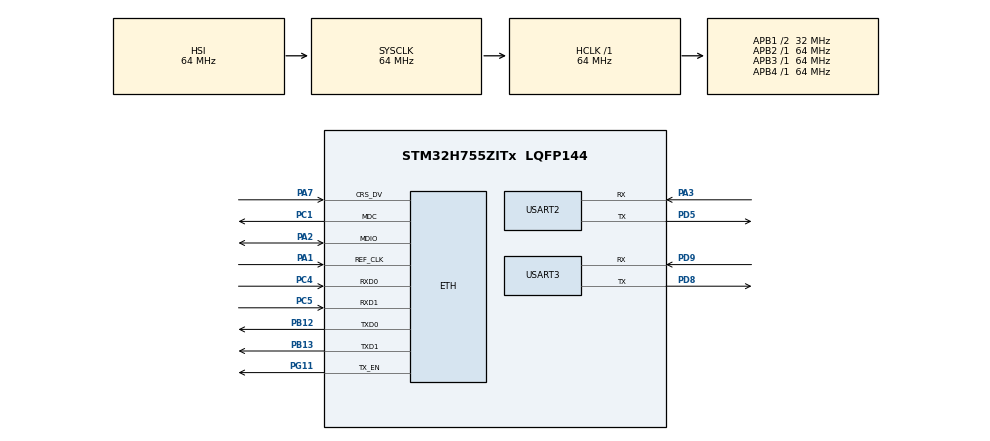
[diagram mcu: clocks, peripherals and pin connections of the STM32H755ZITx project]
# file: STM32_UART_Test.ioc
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CORTEX_M7.default_mode_Activation=1
CortexM4.IPs=CORTEX_M4\:I,FATFS_M4\:I,FREERTOS_M4\:I,IWDG2\:I,OPENAMP_M4\:I,PDM2PCM_M4\:I,PWR,RCC,RESMGR_UTILITY,SYS_M4\:I,USB_DEVICE_M4\:I,USB_HOST_M4\:I,VREFBUF,WWDG2\:I,GPIO,DMA,BDMA,MDMA,NVIC2\:I
CortexM7.IPs=CORTEX_M7\:I,FATFS_M7\:I,FREERTOS_M7\:I,IWDG1\:I,OPENAMP_M7\:I,PDM2PCM_M7\:I,PWR\:I,RCC\:I,RESMGR_UTILITY\:I,SYS\:I,USB_DEVICE_M7\:I,USB_HOST_M7\:I,VREFBUF\:I,WWDG1\:I,GPIO\:I,DMA\:I,BDMA\:I,MDMA\:I,NVIC1\:I,USART3\:I,ETH\:I,LWIP\:I,USART2\:I
ETH.MediaInterface=HAL_ETH_RMII_MODE
FREERTOS_M7.Tasks01=defaultTask,24,128,StartDefaultTask,Default,NULL,Dynamic,NULL,NULL
LWIP.BSP.number=1
LWIP.GATEWAY_ADDRESS=000.000.000.000
LWIP.IP_ADDRESS=192.168.001.050
LWIP.LWIP_DHCP=0
LWIP.NETMASK_ADDRESS=255.255.255.000
LWIP.Version=v2.2.1_Cube
LWIP0.BSP.STBoard=false
LWIP0.BSP.api=BSP_COMPONENT_DRIVER
LWIP0.BSP.component=LAN8742
LWIP0.BSP.instance=LAN8742
LWIP0.BSP.name=Driver_PHY
LWIP0.BSP.semaphore=S_LAN8742
LWIP0.BSP.solution=LAN8742
Mcu.Family=STM32H7
Mcu.Name=STM32H755ZITx
Mcu.Package=LQFP144
NVIC1.ETH_IRQn=true\:5\:0\:false\:false\:true\:true\:true\:true\:true
NVIC1.PriorityGroup=NVIC_PRIORITYGROUP_4
NVIC2.PriorityGroup=NVIC_PRIORITYGROUP_4
PA1.Mode=RMII
PA1.PinAttribute=CortexM7
PA1.Signal=ETH_REF_CLK
PA2.Mode=RMII
PA2.PinAttribute=CortexM7
PA2.Signal=ETH_MDIO
PA3.Mode=Asynchronous
PA3.PinAttribute=CortexM7
PA3.Signal=USART2_RX
PA7.Mode=RMII
PA7.PinAttribute=CortexM7
PA7.Signal=ETH_CRS_DV
PB12.Mode=RMII
PB12.PinAttribute=CortexM7
PB12.Signal=ETH_TXD0
PB13.Mode=RMII
PB13.PinAttribute=CortexM7
PB13.Signal=ETH_TXD1
PC1.Mode=RMII
PC1.PinAttribute=CortexM7
PC1.Signal=ETH_MDC
PC4.Mode=RMII
PC4.PinAttribute=CortexM7
PC4.Signal=ETH_RXD0
PC5.Mode=RMII
PC5.PinAttribute=CortexM7
PC5.Signal=ETH_RXD1
PD5.Mode=Asynchronous
PD5.PinAttribute=CortexM7
PD5.Signal=USART2_TX
PD8.Mode=Asynchronous
PD8.PinAttribute=CortexM7
PD8.Signal=USART3_TX
PD9.Mode=Asynchronous
PD9.PinAttribute=CortexM7
PD9.Signal=USART3_RX
PG11.Mode=RMII
PG11.PinAttribute=CortexM7
PG11.Signal=ETH_TX_EN
ProjectManager.HeapSize=M4-0x200,M7-0x200
ProjectManager.StackSize=M4-0x400,M7-0x400
ProjectManager.TargetToolchain=STM32CubeIDE
RCC.ADCFreq_Value=129000000
RCC.APB1Freq_Value=32000000
RCC.APB2Freq_Value=64000000
RCC.APB3Freq_Value=64000000
RCC.APB4Freq_Value=64000000
RCC.CortexFreq_Value=64000000
RCC.D2PPRE1=RCC_APB1_DIV2
RCC.HCLKFreq_Value=64000000
RCC.SYSCLKFreq_VALUE=64000000
RCC.USBFreq_Value=129000000
SYS.userName=SYS_M7
USART2.VirtualMode-Asynchronous=VM_ASYNC
USART3.VirtualMode-Asynchronous=VM_ASYNC
VP_FREERTOS_M7_VS_CMSIS_V2.Mode=CMSIS_V2
VP_LWIP_VS_Enabled.Mode=Enabled
VP_SYS_M4_VS_Systick.Mode=SysTick
board=custom

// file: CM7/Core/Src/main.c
/* USER CODE BEGIN Header */
/**
  ******************************************************************************
  * @file           : main.c
  * @brief          : Main program body
  ******************************************************************************
  */
/* USER CODE END Header */

#include "main.h"
#include "FreeRTOS.h"
#include "cmsis_os2.h"
#include "lwip.h"

/* USER CODE BEGIN Includes */
#include "lan8742.h"
#include <stdio.h>
#include <stdlib.h>
#include <string.h>
#include <stdint.h>
#include <errno.h>
#include "lwip/sockets.h"
#include "lwip/netif.h"
#include "lwip/ip4_addr.h"
#include "lwip/etharp.h"
#include "stm32h7xx_hal_eth.h"

extern volatile uint32_t eth_pbuf_count;
extern volatile uint32_t eth_input_ok_count;
extern volatile uint32_t eth_input_fail_count;
extern volatile uint32_t eth_rx_irq_count;
extern volatile uint32_t eth_tx_irq_count;
extern volatile uint32_t eth_err_irq_count;

extern ETH_HandleTypeDef heth;
extern lan8742_Object_t LAN8742;
extern struct netif gnetif;

#include "app_debug.h"
#include "app_uart_esp.h"
/* USER CODE END Includes */

/* USER CODE BEGIN PD */
/* #define DUAL_CORE_BOOT_SYNC_SEQUENCE */

#define PLC_IP_ADDR      "192.168.1.100"
#define PLC_MODBUS_PORT  502
#define PLC_UNIT_ID      1

#define HR_SERVO_HIZ          0   /* 40001 */
#define HR_SERVO_HIZ_GELEN    1   /* 40002 */
#define HR_SERVO_HIZ_GIDEN    2   /* 40003 */
#define HR_SERVO_TORK         3   /* 40004 */
#define HR_SERVO_TORK_GELEN   4   /* 40005 */
#define HR_SERVO_TORK_GIDEN   5   /* 40006 */
#define HR_SERVO_MEVCUT_HIZ   6   /* 40007 */

#define HR_SERVO_MESAFE            (40311 - 40001)   // 310
#define HR_EKRAN_SERVO_SABIT_HIZ   (40313 - 40001)   // 312
#define HR_EKRAN_SERVO_SABIT_TORK  (40314 - 40001)   // 313

#define HR_GERCEK_METRE_RAW   (42011 - 40001)   // 2010, Real, 2 register
#define HR_HIZ_M_SN_RAW   (42029 - 40001)   // 2028, Real, 2 register
#define HR_MAX_HIZ_M_SN_RAW   (42037 - 40001)   // 2036, Real, 2 register

#define COIL_EKRAN_METRE_AKTIF     (5 - 1)           // 4
#define COIL_EKRAN_YON_SECIMI      (6 - 1)           // 5
#define COIL_METRE_SIFIRLAMA       (7 - 1)           // 6
#define COIL_EKRAN_DEGISKEN_MOD    (8 - 1)           // 7
#define COIL_ISLEM_BITTI           (11 - 1)          // 10

/* GMSuite tablosunda: EKRAN_STOP=2, EKRAN_START=3, SISTEM_STARTLI=4.
   Modbus genelde 1-based gösterir, gerçek coil adresi = görünen adres - 1. */
#define COIL_EKRAN_STOP       1
#define COIL_EKRAN_START      2
#define COIL_SISTEM_STARTLI   3

/* Set 1 only when debugging raw UART2 traffic (very chatty on USART3). */
#define ESP_UART_BYTE_TRACE   0

/* Modbus TCP response wait (ms). recv() returns -1 on timeout instead of blocking forever. */
#define MODBUS_RECV_TIMEOUT_MS 500

/* Max wait for TCP connect (non-blocking connect + select). Avoids indefinite block when PLC is off. */
#define MODBUS_CONNECT_TIMEOUT_MS  500

/* Minimum gap between identical UART alerts (ms) — avoids flooding USART3 when PLC is down. */
#define MODBUS_UART_PLC_FAIL_MIN_MS   4000
#define MODBUS_UART_ETH_DOWN_MIN_MS   5000
#define MODBUS_UART_SOCKET_FAIL_MIN_MS 8000
#define MODBUS_UART_IO_FAIL_MIN_MS    4000

/* Main loop: longer delay after repeated Modbus read failures (back off TCP retries). */
#define MODBUS_LOOP_DELAY_OK_MS       1000
#define MODBUS_LOOP_DELAY_FAIL_MS     2500
#define MODBUS_LOOP_FAIL_STREAK_LONG  4U

/* Print PHY/netif/counter/IP banner only every N loop iterations (Modbus read still each cycle). */
#define DEFAULT_TASK_VERBOSE_INTERVAL  5

#if defined(DUAL_CORE_BOOT_SYNC_SEQUENCE)
#ifndef HSEM_ID_0
#define HSEM_ID_0 (0U)
#endif
#endif
/* USER CODE END PD */

UART_HandleTypeDef huart2;
UART_HandleTypeDef huart3;

/* Definitions for defaultTask */
osThreadId_t defaultTaskHandle;
const osThreadAttr_t defaultTask_attributes = {
  .name = "defaultTask",
  .stack_size = 4096,
  .priority = (osPriority_t) osPriorityNormal,
};

/* USER CODE BEGIN PV */

static int current_speed = 100;
static int current_torque = 5;

static uint8_t esp_rx_byte;
static char esp_cmd_buffer[32];
static uint8_t esp_cmd_index = 0;

static uint32_t modbus_uart_last_plc_fail_ms;
static uint32_t modbus_uart_last_eth_down_ms;
static uint32_t modbus_uart_last_sock_fail_ms;
static uint32_t modbus_uart_last_io_fail_ms;

/* Pause telemetry Modbus reads during command bursts */
static volatile uint32_t modbus_command_guard_until_ms = 0;

/* Set during any Modbus write sequence so telemetry skips opening a socket */
static volatile uint8_t modbus_command_active = 0;

/* Skip one telemetry cycle after ESP command sequences (START/STOP/live setpoint) */
static volatile uint8_t telemetry_skip_once = 0U;

/* Gate START command to avoid overlapping sequences */
static volatile uint8_t plc_busy = 0;
static volatile uint8_t plc_running = 0;

/* Live setpoint spam guard (K/M/A/Z) */
static uint32_t live_setpoint_last_ms = 0;

typedef enum
{
  MB_CMD_NONE = 0,
  MB_CMD_START,
  MB_CMD_STOP,
  MB_CMD_SPEED_SET,
  MB_CMD_TORQUE_SET
} ModbusCommandType_t;

static volatile ModbusCommandType_t pending_cmd = MB_CMD_NONE;
static volatile int pending_speed = 0;
static volatile int pending_torque = 0;
static volatile uint8_t pending_staged_speed_guard = 0U;

/* USER CODE END PV */

void SystemClock_Config(void);
static void MPU_Config(void);
static void MX_GPIO_Init(void);
static void MX_USART3_UART_Init(void);
static void MX_USART2_UART_Init(void);
void StartDefaultTask(void *argument);

/* USER CODE BEGIN PFP */
int modbus_read_all_registers(void);
void modbus_motion_test_once(void);
int plc_read_one_holding_register(uint16_t raw_reg_addr, uint16_t *out_value);
int plc_read_one_coil(uint16_t raw_coil_addr, uint8_t *out_state);
void plc_diagnostic_read_all(void);
void plc_reset_meter(void);
void plc_set_fixed_speed_torque_distance(uint16_t fixed_speed, uint16_t fixed_torque, uint16_t distance);
void plc_start_fixed_mode_from_esp(void);
void plc_stop_from_esp(void);
static int modbus_write_single_register(uint16_t reg_addr,
                                        uint16_t value);

static int modbus_open_socket(void);
static int modbus_write_single_register_on_socket(int sock,
                                                  uint16_t reg_addr,
                                                  uint16_t value);
static int modbus_write_single_coil_on_socket(int sock,
                                              uint16_t coil_addr,
                                              uint8_t state);

static int modbus_eth_link_ready(void);

static int plc_read_float_holding(uint16_t raw_reg_addr, float *out_value);
static int plc_read_float_holding_on_socket(int sock, uint16_t raw_reg_addr, float *out_value);
static void telemetry_send_live_to_esp(void);
static void modbus_command_release_guard(void);
static void modbus_command_worker_run(void);

/* USER CODE END PFP */

/* USER CODE BEGIN 0 */

#define STAGED_COMMAND_GUARD_MS 5000U

static void modbus_command_release_guard(void)
{
  modbus_command_active = 0U;
  modbus_command_guard_until_ms = osKernelGetTickCount() + 3000U;
}

static void plc_apply_live_torque(void)
{
  char msg[128];
  int sock;
  int wr;

  modbus_command_active = 1U;

  snprintf(msg, sizeof(msg),
           "LIVE TORQUE UPDATE -> TORQUE=%d\r\n",
           current_torque);
  app_debug_uart(msg);

  if (!modbus_eth_link_ready())
  {
    app_debug_uart("TORQUE UPDATE FAIL -> ETH/PLC LINK DOWN\r\n");
    modbus_command_release_guard();
    return;
  }

  app_debug_uart("TORQUE UPDATE OPEN SOCKET\r\n");
  sock = modbus_open_socket();
  if (sock < 0)
  {
    app_debug_uart("TORQUE UPDATE FAIL -> SOCKET OPEN\r\n");
    modbus_command_release_guard();
    return;
  }

  app_debug_uart("TORQUE UPDATE WRITE BEGIN\r\n");
  wr = modbus_write_single_register_on_socket(sock, HR_EKRAN_SERVO_SABIT_TORK,
                                               (uint16_t)current_torque);
  app_debug_uart("TORQUE UPDATE WRITE DONE\r\n");
  app_debug_uart("TORQUE UPDATE CLOSE BEGIN\r\n");
  (void)closesocket(sock);
  app_debug_uart("TORQUE UPDATE CLOSE DONE\r\n");

  if (wr == 0)
  {
    app_debug_uart("TORQUE UPDATE SENT\r\n");
  }
  else
  {
    app_debug_uart("TORQUE UPDATE FAIL\r\n");
  }

  modbus_command_release_guard();
}

static void plc_apply_live_speed(void)
{
  char msg[128];
  int sock;
  int wr;

  modbus_command_active = 1U;

  snprintf(msg, sizeof(msg),
           "LIVE SPEED UPDATE -> SPEED=%d\r\n",
           current_speed);
  app_debug_uart(msg);

  if (!modbus_eth_link_ready())
  {
    app_debug_uart("SPEED UPDATE FAIL -> ETH/PLC LINK DOWN\r\n");
    modbus_command_release_guard();
    return;
  }

  app_debug_uart("SPEED UPDATE OPEN SOCKET\r\n");
  sock = modbus_open_socket();
  if (sock < 0)
  {
    app_debug_uart("SPEED UPDATE FAIL -> SOCKET OPEN\r\n");
    modbus_command_release_guard();
    return;
  }

  app_debug_uart("SPEED UPDATE WRITE BEGIN\r\n");
  wr = modbus_write_single_register_on_socket(sock, HR_EKRAN_SERVO_SABIT_HIZ,
                                               (uint16_t)current_speed);
  app_debug_uart("SPEED UPDATE WRITE DONE\r\n");
  app_debug_uart("SPEED UPDATE CLOSE BEGIN\r\n");
  (void)closesocket(sock);
  app_debug_uart("SPEED UPDATE CLOSE DONE\r\n");

  if (wr == 0)
  {
    app_debug_uart("SPEED UPDATE SENT\r\n");
  }
  else
  {
    app_debug_uart("SPEED UPDATE FAIL\r\n");
  }

  modbus_command_release_guard();
}

static void CPU_CACHE_Enable(void)
{
  // Test asamasinda cache kapali
  // SCB_EnableICache();
  // SCB_EnableDCache();
}

static int modbus_eth_link_ready(void)
{
  return (netif_is_link_up(&gnetif) && netif_is_up(&gnetif)) ? 1 : 0;
}

static void modbus_uart_plc_fail_throttled(void)
{
  uint32_t t = osKernelGetTickCount();
  if ((t - modbus_uart_last_plc_fail_ms) >= MODBUS_UART_PLC_FAIL_MIN_MS)
  {
    modbus_uart_last_plc_fail_ms = t;
    app_debug_uart("PLC CONNECT FAIL\r\n");
  }
}

static void modbus_uart_eth_down_throttled(void)
{
  uint32_t t = osKernelGetTickCount();
  if ((t - modbus_uart_last_eth_down_ms) >= MODBUS_UART_ETH_DOWN_MIN_MS)
  {
    modbus_uart_last_eth_down_ms = t;
    app_debug_uart("MODBUS: ETH link/netif down\r\n");
  }
}

static void modbus_uart_socket_fail_throttled(void)
{
  uint32_t t = osKernelGetTickCount();
  if ((t - modbus_uart_last_sock_fail_ms) >= MODBUS_UART_SOCKET_FAIL_MIN_MS)
  {
    modbus_uart_last_sock_fail_ms = t;
    app_debug_uart("SOCKET FAIL\r\n");
  }
}

static void modbus_uart_io_fail_throttled(void)
{
  uint32_t t = osKernelGetTickCount();
  if ((t - modbus_uart_last_io_fail_ms) >= MODBUS_UART_IO_FAIL_MIN_MS)
  {
    modbus_uart_last_io_fail_ms = t;
    app_debug_uart("MODBUS IO fail\r\n");
  }
}

static int modbus_open_socket(void)
{
  int sock;
  int conn_rc;
  struct sockaddr_in server;
  struct timeval tvto;

  if (!modbus_eth_link_ready())
  {
    modbus_uart_eth_down_throttled();
    return -1;
  }

  app_debug_uart("SOCK:CREATE\r\n");

  sock = socket(AF_INET, SOCK_STREAM, 0);

  if (sock < 0)
  {
    modbus_uart_socket_fail_throttled();
    return -1;
  }

  app_debug_uart("SOCK:CREATED\r\n");

  tvto.tv_sec = MODBUS_CONNECT_TIMEOUT_MS / 1000;
  tvto.tv_usec = (MODBUS_CONNECT_TIMEOUT_MS % 1000) * 1000;

  (void)setsockopt(sock, SOL_SOCKET, SO_RCVTIMEO, &tvto, (socklen_t)sizeof(tvto));
  (void)setsockopt(sock, SOL_SOCKET, SO_SNDTIMEO, &tvto, (socklen_t)sizeof(tvto));

  memset(&server, 0, sizeof(server));
  server.sin_family = AF_INET;
  server.sin_port = htons(PLC_MODBUS_PORT);
  server.sin_addr.s_addr = inet_addr(PLC_IP_ADDR);

  app_debug_uart("SOCK:CONNECT_BLOCKING\r\n");
  conn_rc = connect(sock, (struct sockaddr *)&server, sizeof(server));
  if (conn_rc < 0)
  {
    modbus_uart_plc_fail_throttled();
    (void)closesocket(sock);
    return -1;
  }

  app_debug_uart("SOCK:READY\r\n");
  return sock;
}

static int modbus_write_single_register(uint16_t reg_addr, uint16_t value)
{
  int sock = modbus_open_socket();
  if (sock < 0) return -1;

  uint8_t req[12];
  uint8_t resp[32];
  char msg[128];

  req[0] = 0x00; req[1] = 0x10;
  req[2] = 0x00; req[3] = 0x00;
  req[4] = 0x00; req[5] = 0x06;
  req[6] = PLC_UNIT_ID;
  req[7] = 0x06;
  req[8] = (reg_addr >> 8) & 0xFF;
  req[9] = reg_addr & 0xFF;
  req[10] = (value >> 8) & 0xFF;
  req[11] = value & 0xFF;

  int sent = send(sock, req, sizeof(req), 0);
  if (sent <= 0)
  {
    modbus_uart_io_fail_throttled();
    (void)closesocket(sock);
    return -1;
  }

  fd_set rfds;
  struct timeval tv;

  FD_ZERO(&rfds);
  FD_SET(sock, &rfds);

  tv.tv_sec = MODBUS_RECV_TIMEOUT_MS / 1000;
  tv.tv_usec = (MODBUS_RECV_TIMEOUT_MS % 1000) * 1000;

  int sel = select(sock + 1, &rfds, NULL, NULL, &tv);
  if (sel <= 0)
  {
    if (sel == 0)
      app_debug_uart("MODBUS WRITE SELECT TIMEOUT\r\n");
    else
      app_debug_uart("MODBUS WRITE SELECT ERROR\r\n");

    (void)closesocket(sock);
    return -1;
  }

  int len = recv(sock, resp, sizeof(resp), 0);

  if (len <= 0)
  {
    app_debug_uart("MODBUS WRITE RECV TIMEOUT\r\n");

    (void)closesocket(sock);

    return -1;
  }

  (void)closesocket(sock);

  if (len >= 12 && resp[7] == 0x06)
  {
    snprintf(msg, sizeof(msg),
             "WRITE REG addr=%u value=%u recv=%d\r\n",
             reg_addr,
             value,
             len);

    app_debug_uart(msg);

    return 0;
  }

  modbus_uart_io_fail_throttled();
  return -1;
}

static int modbus_write_single_coil(uint16_t coil_addr, uint8_t state)
{
  int sock = modbus_open_socket();
  if (sock < 0) return -1;

  uint8_t req[12];
  uint8_t resp[32];
  char msg[128];

  req[0] = 0x00; req[1] = 0x20;
  req[2] = 0x00; req[3] = 0x00;
  req[4] = 0x00; req[5] = 0x06;
  req[6] = PLC_UNIT_ID;
  req[7] = 0x05;
  req[8] = (coil_addr >> 8) & 0xFF;
  req[9] = coil_addr & 0xFF;
  req[10] = state ? 0xFF : 0x00;
  req[11] = 0x00;

  int sent = send(sock, req, sizeof(req), 0);
  if (sent <= 0)
  {
    modbus_uart_io_fail_throttled();
    (void)closesocket(sock);
    return -1;
  }

  fd_set rfds;
  struct timeval tv;

  FD_ZERO(&rfds);
  FD_SET(sock, &rfds);

  tv.tv_sec = MODBUS_RECV_TIMEOUT_MS / 1000;
  tv.tv_usec = (MODBUS_RECV_TIMEOUT_MS % 1000) * 1000;

  int sel = select(sock + 1, &rfds, NULL, NULL, &tv);
  if (sel <= 0)
  {
    if (sel == 0)
      app_debug_uart("MODBUS COIL SELECT TIMEOUT\r\n");
    else
      app_debug_uart("MODBUS COIL SELECT ERROR\r\n");

    (void)closesocket(sock);
    return -1;
  }

  int len = recv(sock, resp, sizeof(resp), 0);

  if (len <= 0)
  {
    app_debug_uart("MODBUS COIL RECV TIMEOUT\r\n");

    (void)closesocket(sock);

    return -1;
  }

  (void)closesocket(sock);

  if (len >= 12 && resp[7] == 0x05)
  {
    snprintf(msg, sizeof(msg),
             "WRITE COIL addr=%u state=%u recv=%d\r\n",
             coil_addr,
             state,
             len);

    app_debug_uart(msg);

    return 0;
  }

  modbus_uart_io_fail_throttled();
  return -1;
}

static int modbus_write_single_register_on_socket(int sock, uint16_t reg_addr, uint16_t value)
{
  if (sock < 0) return -1;

  uint8_t req[12];
  uint8_t resp[32];
  char msg[128];

  req[0] = 0x00; req[1] = 0x10;
  req[2] = 0x00; req[3] = 0x00;
  req[4] = 0x00; req[5] = 0x06;
  req[6] = PLC_UNIT_ID;
  req[7] = 0x06;
  req[8] = (reg_addr >> 8) & 0xFF;
  req[9] = reg_addr & 0xFF;
  req[10] = (value >> 8) & 0xFF;
  req[11] = value & 0xFF;

  int sent = send(sock, req, (int)sizeof(req), 0);
  if (sent <= 0)
  {
    app_debug_uart("MODBUS WRITE REG SEND FAIL\r\n");
    return -1;
  }

  fd_set rfds;
  struct timeval tv;

  FD_ZERO(&rfds);
  FD_SET(sock, &rfds);

  tv.tv_sec = MODBUS_RECV_TIMEOUT_MS / 1000;
  tv.tv_usec = (MODBUS_RECV_TIMEOUT_MS % 1000) * 1000;

  int sel = select(sock + 1, &rfds, NULL, NULL, &tv);
  if (sel <= 0)
  {
    if (sel == 0)
      app_debug_uart("MODBUS WRITE REG SELECT TIMEOUT\r\n");
    else
      app_debug_uart("MODBUS WRITE REG SELECT ERROR\r\n");
    return -1;
  }

  int len = recv(sock, resp, (int)sizeof(resp), 0);
  if (len <= 0)
  {
    app_debug_uart("MODBUS WRITE REG RECV FAIL\r\n");
    return -1;
  }

  if (len >= 12 && resp[7] == 0x06)
  {
    snprintf(msg, sizeof(msg),
             "WRITE REG addr=%u value=%u recv=%d\r\n",
             reg_addr,
             value,
             len);
    app_debug_uart(msg);
    return 0;
  }

  app_debug_uart("MODBUS WRITE REG BAD RESP\r\n");
  return -1;
}

static int modbus_write_single_coil_on_socket(int sock, uint16_t coil_addr, uint8_t state)
{
  if (sock < 0) return -1;

  uint8_t req[12];
  uint8_t resp[32];
  char msg[128];

  req[0] = 0x00; req[1] = 0x20;
  req[2] = 0x00; req[3] = 0x00;
  req[4] = 0x00; req[5] = 0x06;
  req[6] = PLC_UNIT_ID;
  req[7] = 0x05;
  req[8] = (coil_addr >> 8) & 0xFF;
  req[9] = coil_addr & 0xFF;
  req[10] = state ? 0xFF : 0x00;
  req[11] = 0x00;

  int sent = send(sock, req, (int)sizeof(req), 0);
  if (sent <= 0)
  {
    app_debug_uart("MODBUS WRITE COIL SEND FAIL\r\n");
    return -1;
  }

  fd_set rfds;
  struct timeval tv;

  FD_ZERO(&rfds);
  FD_SET(sock, &rfds);

  tv.tv_sec = MODBUS_RECV_TIMEOUT_MS / 1000;
  tv.tv_usec = (MODBUS_RECV_TIMEOUT_MS % 1000) * 1000;

  int sel = select(sock + 1, &rfds, NULL, NULL, &tv);
  if (sel <= 0)
  {
    if (sel == 0)
      app_debug_uart("MODBUS WRITE COIL SELECT TIMEOUT\r\n");
    else
      app_debug_uart("MODBUS WRITE COIL SELECT ERROR\r\n");
    return -1;
  }

  int len = recv(sock, resp, (int)sizeof(resp), 0);
  if (len <= 0)
  {
    app_debug_uart("MODBUS WRITE COIL RECV FAIL\r\n");
    return -1;
  }

  if (len >= 12 && resp[7] == 0x05)
  {
    snprintf(msg, sizeof(msg),
             "WRITE COIL addr=%u state=%u recv=%d\r\n",
             coil_addr,
             state,
             len);
    app_debug_uart(msg);
    return 0;
  }

  app_debug_uart("MODBUS WRITE COIL BAD RESP\r\n");
  return -1;
}

static int plc_read_float_holding(uint16_t raw_reg_addr, float *out_value)
{
  int sock;
  uint8_t request[12];
  uint8_t response[32];

  if (out_value == NULL)
  {
    return -1;
  }

  sock = modbus_open_socket();
  if (sock < 0)
  {
    return -1;
  }

  request[0] = 0x00; request[1] = 0x41;
  request[2] = 0x00; request[3] = 0x00;
  request[4] = 0x00; request[5] = 0x06;
  request[6] = PLC_UNIT_ID;
  request[7] = 0x03;
  request[8]  = (raw_reg_addr >> 8) & 0xFF;
  request[9]  = raw_reg_addr & 0xFF;
  request[10] = 0x00;
  request[11] = 0x02;   // Real = 2 register

  int sent = send(sock, request, sizeof(request), 0);
  if (sent <= 0)
  {
    (void)closesocket(sock);
    return -1;
  }

  fd_set rfds;
  struct timeval tv;

  FD_ZERO(&rfds);
  FD_SET(sock, &rfds);

  tv.tv_sec = MODBUS_RECV_TIMEOUT_MS / 1000;
  tv.tv_usec = (MODBUS_RECV_TIMEOUT_MS % 1000) * 1000;

  int sel = select(sock + 1, &rfds, NULL, NULL, &tv);
  if (sel <= 0)
  {
    if (sel == 0)
      app_debug_uart("MODBUS READF SELECT TIMEOUT\r\n");
    else
      app_debug_uart("MODBUS READF SELECT ERROR\r\n");

    (void)closesocket(sock);
    return -1;
  }

  int len = recv(sock, response, sizeof(response), 0);

  if (len <= 0)
  {
    (void)closesocket(sock);
    return -1;
  }

  (void)closesocket(sock);

  if (len >= 13 && response[7] == 0x03 && response[8] == 0x04)
  {
    uint16_t w1 = ((uint16_t)response[9]  << 8) | response[10];
    uint16_t w2 = ((uint16_t)response[11] << 8) | response[12];

    uint32_t raw_swapped = ((uint32_t)w2 << 16) | w1;

    float val;
    memcpy(&val, &raw_swapped, sizeof(float));

    *out_value = val;
    return 0;
  }

  return -1;
}

static int plc_read_float_holding_on_socket(int sock, uint16_t raw_reg_addr, float *out_value)
{
  uint8_t request[12];
  uint8_t response[32];

  if (out_value == NULL)
    return -1;

  if (sock < 0)
    return -1;

  request[0] = 0x00; request[1] = 0x41;
  request[2] = 0x00; request[3] = 0x00;
  request[4] = 0x00; request[5] = 0x06;
  request[6] = PLC_UNIT_ID;
  request[7] = 0x03;
  request[8]  = (raw_reg_addr >> 8) & 0xFF;
  request[9]  = raw_reg_addr & 0xFF;
  request[10] = 0x00;
  request[11] = 0x02;   // Real = 2 register

  int sent = send(sock, request, (int)sizeof(request), 0);
  if (sent <= 0)
  {
    return -1;
  }

  fd_set rfds;
  struct timeval tv;

  FD_ZERO(&rfds);
  FD_SET(sock, &rfds);

  tv.tv_sec = MODBUS_RECV_TIMEOUT_MS / 1000;
  tv.tv_usec = (MODBUS_RECV_TIMEOUT_MS % 1000) * 1000;

  int sel = select(sock + 1, &rfds, NULL, NULL, &tv);
  if (sel <= 0)
  {
    return -1;
  }

  int len = recv(sock, response, (int)sizeof(response), 0);
  if (len <= 0)
  {
    return -1;
  }

  if (len >= 13 && response[7] == 0x03 && response[8] == 0x04)
  {
    uint16_t w1 = ((uint16_t)response[9]  << 8) | response[10];
    uint16_t w2 = ((uint16_t)response[11] << 8) | response[12];

    uint32_t raw_swapped = ((uint32_t)w2 << 16) | w1;

    float val;
    memcpy(&val, &raw_swapped, sizeof(float));

    *out_value = val;
    return 0;
  }

  return -1;
}

/* Signed fixed-point (2 decimals) for LIVE telemetry; integer % on negatives breaks frac. */
static void telemetry_fmt_fixed2(char *buf, size_t buf_len, float v)
{
  int xi = (int)(v * 100.0f + (v >= 0.0f ? 0.5f : -0.5f));
  unsigned abs_x = (unsigned)((xi < 0) ? -xi : xi);
  int whole = (int)(abs_x / 100U);
  int frac = (int)(abs_x % 100U);

  if (xi < 0)
  {
    (void)snprintf(buf, buf_len, "-%d.%02d", whole, frac);
  }
  else
  {
    (void)snprintf(buf, buf_len, "%d.%02d", whole, frac);
  }
}

static void telemetry_send_live_to_esp(void)
{
  char msg[96];

  app_debug_uart("TEL:CACHED_ONLY\r\n");

  (void)snprintf(msg, sizeof(msg),
                 "LIVE,0.00,0.00,%d,%d,0.00\r\n",
                 current_torque,
                 current_speed);

  app_uart_esp_send(msg);
}

static void plc_start(void)
{
  modbus_command_active = 1U;
  app_debug_uart("PLC START veriliyor\r\n");
  modbus_write_single_coil(COIL_EKRAN_START, 1);
  osDelay(100);
  modbus_write_single_coil(COIL_SISTEM_STARTLI, 1);
  modbus_command_release_guard();
}

static void plc_stop(void)
{
  int sock;

  modbus_command_active = 1U;
  app_debug_uart("PLC STOP veriliyor\r\n");

  sock = modbus_open_socket();
  if (sock < 0)
  {
    app_debug_uart("STOP FAIL -> SOCKET OPEN\r\n");
    modbus_command_release_guard();
    return;
  }

  // 1) Önce hareketi durduracak bitleri kapat
  if (modbus_write_single_coil_on_socket(sock, COIL_EKRAN_START, 0) != 0)
  {
    app_debug_uart("STOP FAIL -> COIL START\r\n");
    (void)closesocket(sock);
    modbus_command_release_guard();
    return;
  }
  osDelay(150);

  if (modbus_write_single_coil_on_socket(sock, COIL_SISTEM_STARTLI, 0) != 0)
  {
    app_debug_uart("STOP FAIL -> COIL RUN\r\n");
    (void)closesocket(sock);
    modbus_command_release_guard();
    return;
  }
  osDelay(150);

  // 2) Sonra hız/tork komutlarını sıfırla
  if (modbus_write_single_register_on_socket(sock, HR_SERVO_HIZ_GIDEN, 0) != 0)
  {
    app_debug_uart("STOP FAIL -> REG HIZ_GIDEN\r\n");
    (void)closesocket(sock);
    modbus_command_release_guard();
    return;
  }
  osDelay(150);

  if (modbus_write_single_register_on_socket(sock, HR_SERVO_TORK_GIDEN, 0) != 0)
  {
    app_debug_uart("STOP FAIL -> REG TORK_GIDEN\r\n");
    (void)closesocket(sock);
    modbus_command_release_guard();
    return;
  }
  osDelay(150);

  (void)closesocket(sock);

  app_debug_uart("PLC STOP komutlari tamamlandi\r\n");
  modbus_command_release_guard();
}

static void plc_set_speed_torque(int16_t speed, uint16_t torque)
{
  uint16_t speed_u16 = (uint16_t)speed;
  char msg[128];

  snprintf(msg, sizeof(msg), "SET speed=%d torque=%u\r\n", speed, torque);
  app_debug_uart(msg);

  modbus_write_single_register(HR_SERVO_TORK, torque);
  osDelay(100);
  modbus_write_single_register(HR_SERVO_HIZ, speed_u16);
  osDelay(100);

  modbus_write_single_register(HR_SERVO_TORK_GIDEN, torque);
  osDelay(100);
  modbus_write_single_register(HR_SERVO_HIZ_GIDEN, speed_u16);
}

void modbus_motion_test_once(void)
{
  app_debug_uart("\r\n===== MOTION TEST BASLADI =====\r\n");

  app_debug_uart("BASLANGIC TEMIZLIK\r\n");
  plc_stop();
  osDelay(1500);

  plc_start();
  osDelay(500);

  app_debug_uart("GERI/SARMA TEST: 5+ saniye\r\n");

  /*
    Su an sistemde calisan yon bu.
    ESP'den gelen REWIND komutunda da bunu kullanacagiz.
  */
  plc_set_speed_torque(1000, 100);
  osDelay(7000);

  app_debug_uart("FINAL STOP\r\n");
  plc_stop();

  app_debug_uart("===== MOTION TEST BITTI =====\r\n\r\n");
}

static void plc_rewind_from_esp(void)
{
  /* TEMP: old fixed-mode torque test removed.
     Keep entry point so UART parser stays stable. */
  plc_start_fixed_mode_from_esp();
}

void plc_reset_meter(void)
{
  app_debug_uart("PLC: METRE SIFIRLAMA\r\n");
  modbus_write_single_coil(COIL_METRE_SIFIRLAMA, 1);
  osDelay(200);
  modbus_write_single_coil(COIL_METRE_SIFIRLAMA, 0);
  osDelay(200);
}

void plc_set_fixed_speed_torque_distance(uint16_t fixed_speed, uint16_t fixed_torque, uint16_t distance)
{
  char msg[128];

  /* Fixed mode: EKRAN_DEGISKEN_MOD = 0 */
  modbus_write_single_coil(COIL_EKRAN_DEGISKEN_MOD, 0);
  osDelay(80);

  snprintf(msg, sizeof(msg), "PLC: FIXED hiz=%u tork=%u mesafe=%u\r\n",
           (unsigned int)fixed_speed, (unsigned int)fixed_torque, (unsigned int)distance);
  app_debug_uart(msg);

  modbus_write_single_register(HR_EKRAN_SERVO_SABIT_HIZ, fixed_speed);
  osDelay(80);
  modbus_write_single_register(HR_EKRAN_SERVO_SABIT_TORK, fixed_torque);
  osDelay(80);
  modbus_write_single_register(HR_SERVO_MESAFE, distance);
  osDelay(120);
}

void plc_start_fixed_mode_from_esp(void)
{
  int sock;

  modbus_command_active = 1U;

  current_torque = 5;
  current_speed = 100;

  app_debug_uart("\r\nESP KOMUT GELDI -> START\r\n");

  sock = modbus_open_socket();
  if (sock < 0)
  {
    app_debug_uart("START FAIL -> SOCKET OPEN\r\n");
    modbus_command_release_guard();
    return;
  }

  if (modbus_write_single_register_on_socket(sock, HR_EKRAN_SERVO_SABIT_HIZ, 100) != 0)
  {
    app_debug_uart("START FAIL -> REG 312\r\n");
    (void)closesocket(sock);
    modbus_command_release_guard();
    return;
  }
  osDelay(200);

  if (modbus_write_single_register_on_socket(sock, HR_EKRAN_SERVO_SABIT_TORK, current_torque) != 0)
  {
    app_debug_uart("START FAIL -> REG 313\r\n");
    (void)closesocket(sock);
    modbus_command_release_guard();
    return;
  }
  osDelay(200);

  if (modbus_write_single_coil_on_socket(sock, COIL_EKRAN_START, 1) != 0)
  {
    app_debug_uart("START FAIL -> COIL START\r\n");
    (void)closesocket(sock);
    modbus_command_release_guard();
    return;
  }
  osDelay(200);

  if (modbus_write_single_coil_on_socket(sock, COIL_SISTEM_STARTLI, 1) != 0)
  {
    app_debug_uart("START FAIL -> COIL RUN\r\n");
    (void)closesocket(sock);
    modbus_command_release_guard();
    return;
  }
  osDelay(200);

  (void)closesocket(sock);

  app_debug_uart("PLC START DONE\r\n");
  plc_running = 1;
  modbus_command_release_guard();
}

void plc_stop_from_esp(void)
{
  plc_running = 0;
  app_debug_uart("\r\nESP KOMUT GELDI -> STOP\r\n");
  plc_busy = 0;
  plc_stop();
  app_debug_uart("PLC: STOP DONE\r\n");
}

static void modbus_command_worker_run(void)
{
  ModbusCommandType_t cmd = pending_cmd;

  if (cmd == MB_CMD_NONE)
  {
    return;
  }

  pending_cmd = MB_CMD_NONE;

  switch (cmd)
  {
    case MB_CMD_STOP:
      plc_stop_from_esp();
      break;

    case MB_CMD_START:
      plc_start_fixed_mode_from_esp();
      plc_busy = 0;
      break;

    case MB_CMD_SPEED_SET:
      (void)pending_speed;
      (void)pending_torque;
      plc_apply_live_speed();
      if (pending_staged_speed_guard != 0U)
      {
        pending_staged_speed_guard = 0U;
        modbus_command_guard_until_ms = osKernelGetTickCount() + STAGED_COMMAND_GUARD_MS;
        app_debug_uart("STAGED SPEED GUARD 5000ms\r\n");
      }
      break;

    case MB_CMD_TORQUE_SET:
      plc_apply_live_torque();
      break;

    default:
      break;
  }

  telemetry_skip_once = 1U;
}

static void esp_check_uart_command(void)
{
  static uint32_t esp_last_start_ms = 0;

  if (HAL_UART_Receive(&huart2, &esp_rx_byte, 1, 1) != HAL_OK)
  {
    return;
  }

#if ESP_UART_BYTE_TRACE
  char dbg[40];
  snprintf(dbg, sizeof(dbg), "UART2 BYTE: 0x%02X '%c'\r\n",
           (unsigned int)esp_rx_byte,
           (esp_rx_byte >= 32 && esp_rx_byte <= 126) ? (char)esp_rx_byte : '.');
  app_debug_uart(dbg);
#endif

  if (esp_rx_byte == 'S')
  {
    app_debug_uart("\r\nUART CMD -> S / STOP\r\n");
    plc_busy = 0;
    pending_cmd = MB_CMD_STOP;

    memset(esp_cmd_buffer, 0, sizeof(esp_cmd_buffer));
    esp_cmd_index = 0;
    return;
  }

  if (esp_rx_byte == 'A')
  {
    uint32_t now_ms = osKernelGetTickCount();
    if ((now_ms - live_setpoint_last_ms) < 250U)
    {
      app_debug_uart("LIVE SETPOINT COOLDOWN\r\n");
      return;
    }
    live_setpoint_last_ms = now_ms;

    current_torque += 5;

    if (current_torque > 50)
      current_torque = 50;

    app_debug_uart("TORQUE PLUS\r\n");

    pending_torque = current_torque;
    pending_cmd = MB_CMD_TORQUE_SET;

    return;
  }

  if (esp_rx_byte == 'Z')
  {
    uint32_t now_ms = osKernelGetTickCount();
    if ((now_ms - live_setpoint_last_ms) < 250U)
    {
      app_debug_uart("LIVE SETPOINT COOLDOWN\r\n");
      return;
    }
    live_setpoint_last_ms = now_ms;

    current_torque -= 5;

    if (current_torque < 0)
      current_torque = 0;

    app_debug_uart("TORQUE MINUS\r\n");

    pending_torque = current_torque;
    pending_cmd = MB_CMD_TORQUE_SET;

    return;
  }

  if (esp_rx_byte == 'K')
  {
    uint32_t now_ms = osKernelGetTickCount();
    if ((now_ms - live_setpoint_last_ms) < 250U)
    {
      app_debug_uart("LIVE SETPOINT COOLDOWN\r\n");
      return;
    }
    live_setpoint_last_ms = now_ms;

    current_speed += 100;

    if (current_speed > 2000)
      current_speed = 2000;

    app_debug_uart("SPEED PLUS\r\n");

    pending_speed = current_speed;
    pending_cmd = MB_CMD_SPEED_SET;

    return;
  }

  if (esp_rx_byte == 'M')
  {
    uint32_t now_ms = osKernelGetTickCount();
    if ((now_ms - live_setpoint_last_ms) < 250U)
    {
      app_debug_uart("LIVE SETPOINT COOLDOWN\r\n");
      return;
    }
    live_setpoint_last_ms = now_ms;

    current_speed -= 100;

    if (current_speed < 0)
      current_speed = 0;

    app_debug_uart("SPEED MINUS\r\n");

    pending_speed = current_speed;
    pending_cmd = MB_CMD_SPEED_SET;

    return;
  }

  /* Staged speed single-character commands from ESP:
     '1'->100, '2'->200, '3'->300, '4'->400, '5'->500. */
  if (esp_rx_byte >= '1' && esp_rx_byte <= '5')
  {
    uint32_t now_ms = osKernelGetTickCount();
    if ((now_ms - live_setpoint_last_ms) < 250U)
    {
      app_debug_uart("LIVE SETPOINT COOLDOWN\r\n");
      return;
    }
    live_setpoint_last_ms = now_ms;

    int new_speed = (esp_rx_byte - '0') * 100;
    current_speed = new_speed;

    char msg[64];
    snprintf(msg, sizeof(msg), "UART CMD -> STAGE SPEED %d\r\n", new_speed);
    app_debug_uart(msg);

    pending_speed = current_speed;
    pending_staged_speed_guard = 1U;
    pending_cmd = MB_CMD_SPEED_SET;

    return;
  }

  /* Staged torque single-character commands: 'a'->5, 'b'->10, 'c'->15. */
  if (esp_rx_byte == 'a' || esp_rx_byte == 'b' || esp_rx_byte == 'c')
  {
    uint32_t now_ms = osKernelGetTickCount();
    if ((now_ms - live_setpoint_last_ms) < 250U)
    {
      app_debug_uart("LIVE SETPOINT COOLDOWN\r\n");
      return;
    }
    live_setpoint_last_ms = now_ms;

    int tq;
    if (esp_rx_byte == 'a')
      tq = 5;
    else if (esp_rx_byte == 'b')
      tq = 10;
    else
      tq = 15;
    current_torque = tq;

    char msg[64];
    snprintf(msg, sizeof(msg), "UART CMD -> STAGE TORQUE %d\r\n", tq);
    app_debug_uart(msg);

    pending_torque = current_torque;
    pending_cmd = MB_CMD_TORQUE_SET;

    return;
  }

  if (esp_rx_byte == 'R')
  {
    uint32_t now_ms = osKernelGetTickCount();

    if ((now_ms - esp_last_start_ms) < 1000U)
    {
      app_debug_uart("START IGNORED - COOLDOWN\r\n");
      return;
    }

    if (plc_busy)
    {
      app_debug_uart("PLC BUSY - START IGNORED\r\n");
      return;
    }

    app_debug_uart("\r\nUART CMD -> R / START\r\n");
    esp_last_start_ms = now_ms;

    plc_busy = 1;
    pending_cmd = MB_CMD_START;

    memset(esp_cmd_buffer, 0, sizeof(esp_cmd_buffer));
    esp_cmd_index = 0;
    return;
  }

  /* Line-based commands (in addition to single-char commands above):
     - V:<value>  speed setpoint (0..2000), prefix avoids clash with STOP 'S'
     - Q:<value>  torque setpoint (0..50)
     Accumulate bytes until newline, then parse. */
  if (esp_rx_byte == '\r' || esp_rx_byte == '\n' || esp_rx_byte == 0x00)
  {
    if (esp_cmd_index == 0)
    {
      return;
    }

    esp_cmd_buffer[esp_cmd_index] = '\0';

    if (strncmp(esp_cmd_buffer, "V:", 2) == 0)
    {
      int v = atoi(&esp_cmd_buffer[2]);
      if (v < 0) v = 0;
      if (v > 2000) v = 2000;

      uint32_t now_ms = osKernelGetTickCount();
      if ((now_ms - live_setpoint_last_ms) < 250U)
      {
        app_debug_uart("LIVE SETPOINT COOLDOWN\r\n");
      }
      else
      {
        char msg[64];
        live_setpoint_last_ms = now_ms;
        current_speed = v;
        snprintf(msg, sizeof(msg), "UART CMD -> V:%d\r\n", v);
        app_debug_uart(msg);
        pending_speed = current_speed;
        pending_cmd = MB_CMD_SPEED_SET;
      }
    }
    else if (strncmp(esp_cmd_buffer, "Q:", 2) == 0)
    {
      int v = atoi(&esp_cmd_buffer[2]);
      if (v < 0) v = 0;
      if (v > 50) v = 50;

      uint32_t now_ms = osKernelGetTickCount();
      if ((now_ms - live_setpoint_last_ms) < 250U)
      {
        app_debug_uart("LIVE SETPOINT COOLDOWN\r\n");
      }
      else
      {
        char msg[64];
        live_setpoint_last_ms = now_ms;
        current_torque = v;
        snprintf(msg, sizeof(msg), "UART CMD -> Q:%d\r\n", v);
        app_debug_uart(msg);
        pending_torque = current_torque;
        pending_cmd = MB_CMD_TORQUE_SET;
      }
    }
    else
    {
      app_debug_uart("UART LINE IGNORED\r\n");
    }

    memset(esp_cmd_buffer, 0, sizeof(esp_cmd_buffer));
    esp_cmd_index = 0;
    return;
  }

  /* Accumulate printable bytes for line commands. */
  if (esp_cmd_index < (uint8_t)(sizeof(esp_cmd_buffer) - 1U))
  {
    esp_cmd_buffer[esp_cmd_index++] = (char)esp_rx_byte;
    return;
  }

  /* Overflow: reset buffer to avoid stale parse. */
  app_debug_uart("UART LINE OVERFLOW\r\n");
  memset(esp_cmd_buffer, 0, sizeof(esp_cmd_buffer));
  esp_cmd_index = 0;
}

int modbus_read_all_registers(void)
{
  int sock;
  uint8_t request[12];
  uint8_t response[128];
  char msg[256];

  sock = modbus_open_socket();
  if (sock < 0)
  {
    return -1;
  }

  request[0] = 0x00; request[1] = 0x01;
  request[2] = 0x00; request[3] = 0x00;
  request[4] = 0x00; request[5] = 0x06;
  request[6] = PLC_UNIT_ID;
  request[7] = 0x03;
  request[8]  = 0x00;
  request[9]  = 0x00;
  request[10] = 0x00;
  request[11] = 0x07;

  int sent = send(sock, request, 12, 0);

  if (sent <= 0)
  {
    modbus_uart_io_fail_throttled();
    (void)closesocket(sock);
    return -1;
  }

  int len = recv(sock, response, sizeof(response), 0);

  if (len >= 23 && response[7] == 0x03)
  {
    uint16_t r40001 = ((uint16_t)response[9]  << 8) | response[10];
    uint16_t r40002 = ((uint16_t)response[11] << 8) | response[12];
    uint16_t r40003 = ((uint16_t)response[13] << 8) | response[14];
    uint16_t r40004 = ((uint16_t)response[15] << 8) | response[16];
    uint16_t r40005 = ((uint16_t)response[17] << 8) | response[18];
    uint16_t r40006 = ((uint16_t)response[19] << 8) | response[20];
    uint16_t r40007 = ((uint16_t)response[21] << 8) | response[22];

    app_debug_uart("\r\n===== PLC MODBUS READ =====\r\n");
    snprintf(msg, sizeof(msg), "40001 SERVO_HIZ        : %u\r\n", r40001); app_debug_uart(msg);
    snprintf(msg, sizeof(msg), "40002 Servo_hiz_gelen  : %u\r\n", r40002); app_debug_uart(msg);
    snprintf(msg, sizeof(msg), "40003 Servo_hiz_giden  : %u\r\n", r40003); app_debug_uart(msg);
    snprintf(msg, sizeof(msg), "40004 SERVO_TORKU      : %u\r\n", r40004); app_debug_uart(msg);
    snprintf(msg, sizeof(msg), "40005 Servo_tork_gelen : %u\r\n", r40005); app_debug_uart(msg);
    snprintf(msg, sizeof(msg), "40006 Servo_tork_giden : %u\r\n", r40006); app_debug_uart(msg);
    snprintf(msg, sizeof(msg), "40007 Servo_mevcut_hiz : %u\r\n", r40007); app_debug_uart(msg);

    app_debug_uart("===========================\r\n");
    (void)closesocket(sock);
    return 0;
  }

  modbus_uart_io_fail_throttled();
  (void)closesocket(sock);
  return -1;
}

int plc_read_one_holding_register(uint16_t raw_reg_addr, uint16_t *out_value)
{
  int sock;
  uint8_t request[12];
  uint8_t response[64];

  if (out_value == NULL)
  {
    return -1;
  }

  sock = modbus_open_socket();
  if (sock < 0)
  {
    return -1;
  }

  request[0] = 0x00; request[1] = 0x31;
  request[2] = 0x00; request[3] = 0x00;
  request[4] = 0x00; request[5] = 0x06;
  request[6] = PLC_UNIT_ID;
  request[7] = 0x03; /* Read Holding Registers */
  request[8]  = (raw_reg_addr >> 8) & 0xFF;
  request[9]  = raw_reg_addr & 0xFF;
  request[10] = 0x00;
  request[11] = 0x01; /* qty=1 */

  int sent = send(sock, request, (int)sizeof(request), 0);
  if (sent <= 0)
  {
    modbus_uart_io_fail_throttled();
    (void)closesocket(sock);
    return -1;
  }

  int len = recv(sock, response, (int)sizeof(response), 0);
  (void)closesocket(sock);

  if (len >= 11 && response[7] == 0x03 && response[8] == 0x02)
  {
    *out_value = ((uint16_t)response[9] << 8) | response[10];
    return 0;
  }

  modbus_uart_io_fail_throttled();
  return -1;
}

int plc_read_one_coil(uint16_t raw_coil_addr, uint8_t *out_state)
{
  int sock;
  uint8_t request[12];
  uint8_t response[64];

  if (out_state == NULL)
  {
    return -1;
  }

  sock = modbus_open_socket();
  if (sock < 0)
  {
    return -1;
  }

  request[0] = 0x00; request[1] = 0x32;
  request[2] = 0x00; request[3] = 0x00;
  request[4] = 0x00; request[5] = 0x06;
  request[6] = PLC_UNIT_ID;
  request[7] = 0x01; /* Read Coils */
  request[8]  = (raw_coil_addr >> 8) & 0xFF;
  request[9]  = raw_coil_addr & 0xFF;
  request[10] = 0x00;
  request[11] = 0x01; /* qty=1 */

  int sent = send(sock, request, (int)sizeof(request), 0);
  if (sent <= 0)
  {
    modbus_uart_io_fail_throttled();
    (void)closesocket(sock);
    return -1;
  }

  int len = recv(sock, response, (int)sizeof(response), 0);
  (void)closesocket(sock);

  if (len >= 10 && response[7] == 0x01 && response[8] >= 0x01)
  {
    *out_state = (response[9] & 0x01) ? 1U : 0U;
    return 0;
  }

  modbus_uart_io_fail_throttled();
  return -1;
}

void plc_diagnostic_read_all(void)
{
  typedef struct
  {
    uint16_t human_addr;
    const char *name;
  } plc_hr_item_t;

  typedef struct
  {
    uint16_t human_coil;
    const char *name;
  } plc_coil_item_t;

  static const plc_hr_item_t hrs[] =
  {
    { 40001, "SERVO_HIZ" },
    { 40002, "SERVO_HIZ_GELEN" },
    { 40003, "SERVO_HIZ_GIDEN" },
    { 40004, "SERVO_TORK" },
    { 40005, "SERVO_TORK_GELEN" },
    { 40006, "SERVO_TORK_GIDEN" },
    { 40007, "SERVO_MEVCUT_HIZ" },

    { 40311, "SERVO_MESAFE" },
    { 40312, "HR_40312" },
    { 40313, "HR_40313" },
    { 40314, "HR_40314" },
    { 40317, "HR_40317" },

    { 42001, "R_SAYAC" },
    { 42015, "HR_42015" },
    { 42017, "HR_42017" },
    { 42019, "HR_42019" },
    { 42021, "HR_42021" },
    { 42023, "HR_42023" },
    { 42025, "HR_42025" },
    { 42027, "HR_42027" },
    { 42029, "HR_42029" },
    { 42031, "HR_42031" },
    { 42033, "HR_42033" },
    { 42037, "HR_42037" },
    { 42039, "HR_42039" },
    { 42041, "HR_42041" },
  };

  static const plc_coil_item_t coils[] =
  {
    { 2,  "COIL_2"  },
    { 3,  "COIL_3"  },
    { 4,  "COIL_4"  },
    { 5,  "COIL_5"  },
    { 6,  "METRE_SIFIRLAMA" },
    { 7,  "EKRAN_DEGISKEN_MOD" },
    { 8,  "COIL_8"  },
    { 9,  "COIL_9"  },
    { 10, "ISLEM_BITTI" },
    { 11, "COIL_11" },
    { 12, "COIL_12" },
    { 13, "COIL_13" },
  };

  char msg[192];
  app_debug_uart("\r\n===== PLC DIAGNOSTIC READ (TEMP) =====\r\n");

  for (uint32_t i = 0; i < (uint32_t)(sizeof(hrs) / sizeof(hrs[0])); i++)
  {
    uint16_t val = 0;
    uint16_t raw = (uint16_t)(hrs[i].human_addr - 40001U);
    int rc = plc_read_one_holding_register(raw, &val);
    if (rc == 0)
    {
      snprintf(msg, sizeof(msg), "HR %u (%5u) %-20s = %u\r\n",
               (unsigned int)hrs[i].human_addr,
               (unsigned int)raw,
               hrs[i].name,
               (unsigned int)val);
    }
    else
    {
      snprintf(msg, sizeof(msg), "HR %u (%5u) %-20s = READ_FAIL\r\n",
               (unsigned int)hrs[i].human_addr,
               (unsigned int)raw,
               hrs[i].name);
    }
    app_debug_uart(msg);
  }

  app_debug_uart("----- COILS -----\r\n");

  for (uint32_t i = 0; i < (uint32_t)(sizeof(coils) / sizeof(coils[0])); i++)
  {
    uint8_t st = 0;
    uint16_t raw = (uint16_t)(coils[i].human_coil - 1U);
    int rc = plc_read_one_coil(raw, &st);
    if (rc == 0)
    {
      snprintf(msg, sizeof(msg), "C  %u (%5u) %-20s = %u\r\n",
               (unsigned int)coils[i].human_coil,
               (unsigned int)raw,
               coils[i].name,
               (unsigned int)st);
    }
    else
    {
      snprintf(msg, sizeof(msg), "C  %u (%5u) %-20s = READ_FAIL\r\n",
               (unsigned int)coils[i].human_coil,
               (unsigned int)raw,
               coils[i].name);
    }
    app_debug_uart(msg);
  }

  app_debug_uart("======================================\r\n");
}

/* USER CODE END 0 */

int main(void)
{

#if defined(DUAL_CORE_BOOT_SYNC_SEQUENCE)
  int32_t timeout;
#endif

  MPU_Config();
  //CPU_CACHE_Enable();

#if defined(DUAL_CORE_BOOT_SYNC_SEQUENCE)
  timeout = 0xFFFF;
  while((__HAL_RCC_GET_FLAG(RCC_FLAG_D2CKRDY) != RESET) && (timeout-- > 0));
  if (timeout < 0)
  {
    Error_Handler();
  }
#endif

  HAL_Init();

  SystemClock_Config();

#if defined(DUAL_CORE_BOOT_SYNC_SEQUENCE)
  __HAL_RCC_HSEM_CLK_ENABLE();
  HAL_HSEM_FastTake(HSEM_ID_0);
  HAL_HSEM_Release(HSEM_ID_0,0);

  timeout = 0xFFFF;
  while((__HAL_RCC_GET_FLAG(RCC_FLAG_D2CKRDY) == RESET) && (timeout-- > 0));
  if (timeout < 0)
  {
    Error_Handler();
  }
#endif

  MX_GPIO_Init();
  MX_USART3_UART_Init();
  MX_USART2_UART_Init();

  /* USER CODE BEGIN 2 */
  app_debug_uart("\r\n\r\nSTM32 guc verdi\r\n");
  app_debug_uart("USART2 ESP KOMUT HATTI HAZIR\r\n");
  /* USER CODE END 2 */

  osKernelInitialize();

  defaultTaskHandle = osThreadNew(StartDefaultTask, NULL, &defaultTask_attributes);

  if (defaultTaskHandle == NULL)
  {
    app_debug_uart("TASK CREATE FAIL\r\n");
  }
  else
  {
    app_debug_uart("TASK CREATE OK\r\n");
  }

  osKernelStart();

  while (1)
  {
  }
}

void SystemClock_Config(void)
{
  RCC_OscInitTypeDef RCC_OscInitStruct = {0};
  RCC_ClkInitTypeDef RCC_ClkInitStruct = {0};

  HAL_PWREx_ConfigSupply(PWR_DIRECT_SMPS_SUPPLY);

  __HAL_PWR_VOLTAGESCALING_CONFIG(PWR_REGULATOR_VOLTAGE_SCALE3);

  while(!__HAL_PWR_GET_FLAG(PWR_FLAG_VOSRDY)) {}

  RCC_OscInitStruct.OscillatorType = RCC_OSCILLATORTYPE_HSI;
  RCC_OscInitStruct.HSIState = RCC_HSI_DIV1;
  RCC_OscInitStruct.HSICalibrationValue = RCC_HSICALIBRATION_DEFAULT;
  RCC_OscInitStruct.PLL.PLLState = RCC_PLL_NONE;
  if (HAL_RCC_OscConfig(&RCC_OscInitStruct) != HAL_OK)
  {
    Error_Handler();
  }

  RCC_ClkInitStruct.ClockType = RCC_CLOCKTYPE_HCLK|RCC_CLOCKTYPE_SYSCLK
                              |RCC_CLOCKTYPE_PCLK1|RCC_CLOCKTYPE_PCLK2
                              |RCC_CLOCKTYPE_D3PCLK1|RCC_CLOCKTYPE_D1PCLK1;
  RCC_ClkInitStruct.SYSCLKSource = RCC_SYSCLKSOURCE_HSI;
  RCC_ClkInitStruct.SYSCLKDivider = RCC_SYSCLK_DIV1;
  RCC_ClkInitStruct.AHBCLKDivider = RCC_HCLK_DIV1;
  RCC_ClkInitStruct.APB3CLKDivider = RCC_APB3_DIV1;
  RCC_ClkInitStruct.APB1CLKDivider = RCC_APB1_DIV2;
  RCC_ClkInitStruct.APB2CLKDivider = RCC_APB2_DIV1;
  RCC_ClkInitStruct.APB4CLKDivider = RCC_APB4_DIV1;

  if (HAL_RCC_ClockConfig(&RCC_ClkInitStruct, FLASH_LATENCY_1) != HAL_OK)
  {
    Error_Handler();
  }
}

static void MX_USART2_UART_Init(void)
{
  huart2.Instance = USART2;
  huart2.Init.BaudRate = 115200;
  huart2.Init.WordLength = UART_WORDLENGTH_8B;
  huart2.Init.StopBits = UART_STOPBITS_1;
  huart2.Init.Parity = UART_PARITY_NONE;
  huart2.Init.Mode = UART_MODE_TX_RX;
  huart2.Init.HwFlowCtl = UART_HWCONTROL_NONE;
  huart2.Init.OverSampling = UART_OVERSAMPLING_16;
  huart2.Init.OneBitSampling = UART_ONE_BIT_SAMPLE_DISABLE;
  huart2.Init.ClockPrescaler = UART_PRESCALER_DIV1;
  huart2.AdvancedInit.AdvFeatureInit = UART_ADVFEATURE_NO_INIT;

  if (HAL_UART_Init(&huart2) != HAL_OK)
  {
    Error_Handler();
  }
  if (HAL_UARTEx_SetTxFifoThreshold(&huart2, UART_TXFIFO_THRESHOLD_1_8) != HAL_OK)
  {
    Error_Handler();
  }
  if (HAL_UARTEx_SetRxFifoThreshold(&huart2, UART_RXFIFO_THRESHOLD_1_8) != HAL_OK)
  {
    Error_Handler();
  }
  if (HAL_UARTEx_DisableFifoMode(&huart2) != HAL_OK)
  {
    Error_Handler();
  }
}

static void MX_USART3_UART_Init(void)
{
  huart3.Instance = USART3;
  huart3.Init.BaudRate = 115200;
  huart3.Init.WordLength = UART_WORDLENGTH_8B;
  huart3.Init.StopBits = UART_STOPBITS_1;
  huart3.Init.Parity = UART_PARITY_NONE;
  huart3.Init.Mode = UART_MODE_TX_RX;
  huart3.Init.HwFlowCtl = UART_HWCONTROL_NONE;
  huart3.Init.OverSampling = UART_OVERSAMPLING_16;
  huart3.Init.OneBitSampling = UART_ONE_BIT_SAMPLE_DISABLE;
  huart3.Init.ClockPrescaler = UART_PRESCALER_DIV1;
  huart3.AdvancedInit.AdvFeatureInit = UART_ADVFEATURE_NO_INIT;

  if (HAL_UART_Init(&huart3) != HAL_OK)
  {
    Error_Handler();
  }
  if (HAL_UARTEx_SetTxFifoThreshold(&huart3, UART_TXFIFO_THRESHOLD_1_8) != HAL_OK)
  {
    Error_Handler();
  }
  if (HAL_UARTEx_SetRxFifoThreshold(&huart3, UART_RXFIFO_THRESHOLD_1_8) != HAL_OK)
  {
    Error_Handler();
  }
  if (HAL_UARTEx_DisableFifoMode(&huart3) != HAL_OK)
  {
    Error_Handler();
  }
}

static void MX_GPIO_Init(void)
{
  __HAL_RCC_GPIOC_CLK_ENABLE();
  __HAL_RCC_GPIOA_CLK_ENABLE();
  __HAL_RCC_GPIOB_CLK_ENABLE();
  __HAL_RCC_GPIOD_CLK_ENABLE();
  __HAL_RCC_GPIOG_CLK_ENABLE();
}

void StartDefaultTask(void *argument)
{
  char msg[128];
  uint32_t phy_bsr = 0;
  uint8_t link_now = 0;
  uint8_t link_prev = 0xFF;

  app_debug_uart("TASK BASLADI\r\n");
  app_debug_uart("LWIP init giriyor\r\n");

  MX_LWIP_Init();

  app_debug_uart("LWIP init cikti\r\n");
  app_debug_uart("LWIP init tamam\r\n");

  snprintf(msg, sizeof(msg),
           "STM MAC: %02X:%02X:%02X:%02X:%02X:%02X\r\n",
           gnetif.hwaddr[0], gnetif.hwaddr[1], gnetif.hwaddr[2],
           gnetif.hwaddr[3], gnetif.hwaddr[4], gnetif.hwaddr[5]);
  app_debug_uart(msg);

  osDelay(3000);

  /* USER CODE BEGIN StartDefaultTask */
  /*
    Artik otomatik hareket testi yapmiyoruz.
    ESP32 tarafindan USART2 uzerinden "REWIND\n" gelirse calisacak.
  */

  for(;;)
  {
    static uint32_t last_verbose_ms = 0;
    static uint32_t next_modbus_ms = 0;
    static uint32_t mb_fail_streak = 0;
    uint32_t now = osKernelGetTickCount();
    uint8_t verbose_phy;

    /* Poll ESP UART frequently (no long blocking delays). */
    esp_check_uart_command();
    modbus_command_worker_run();

    /* PHY/link checks */
    if (HAL_ETH_ReadPHYRegister(&heth, 0, 0x01, &phy_bsr) != HAL_OK)
    {
      app_debug_uart("PHY reg read hata\r\n");
    }

    link_now = (phy_bsr & (1 << 2)) ? 1 : 0;

    if (link_now != link_prev)
    {
      if (link_now)
        app_debug_uart("LINK DEGISTI -> UP\r\n");
      else
        app_debug_uart("LINK DEGISTI -> DOWN\r\n");

      link_prev = link_now;
    }

    /* Keep verbose banner similar to old cadence (~every N seconds). */
    verbose_phy = ((now - last_verbose_ms) >= (DEFAULT_TASK_VERBOSE_INTERVAL * 1000U));
    if (verbose_phy)
    {
      last_verbose_ms = now;

      snprintf(msg, sizeof(msg), "PHY BSR (0x01): 0x%04lX\r\n", phy_bsr);
      app_debug_uart(msg);

      if (link_now)
        app_debug_uart("BSR link bit: 1\r\n");
      else
        app_debug_uart("BSR link bit: 0\r\n");

      if (netif_is_link_up(&gnetif))
        app_debug_uart("ETH LINK UP\r\n");
      else
        app_debug_uart("ETH LINK DOWN\r\n");

      if (netif_is_up(&gnetif))
        app_debug_uart("NETIF UP\r\n");
      else
        app_debug_uart("NETIF DOWN\r\n");

      snprintf(msg, sizeof(msg), "RX IRQ: %lu  TX IRQ: %lu  ERR IRQ: %lu\r\n",
               eth_rx_irq_count, eth_tx_irq_count, eth_err_irq_count);
      app_debug_uart(msg);

      snprintf(msg, sizeof(msg), "PBUF: %lu  INPUT_OK: %lu  INPUT_FAIL: %lu\r\n",
               eth_pbuf_count, eth_input_ok_count, eth_input_fail_count);
      app_debug_uart(msg);

      snprintf(msg, sizeof(msg), "IP: %s\r\n", ip4addr_ntoa(netif_ip4_addr(&gnetif)));
      app_debug_uart(msg);

      app_debug_uart("---------------------\r\n");
    }

    /* Periodic Modbus reads disabled for stability (no diagnostic/read-all calls). */
    if ((int32_t)(now - next_modbus_ms) >= 0)
    {
      int mb = 0;
      (void)mb;
      mb_fail_streak = 0;
      next_modbus_ms = now + 5000U;
    }

    static uint32_t last_meter_ms = 0;
    static uint32_t dbg_state_ms = 0;
    static uint32_t dbg_tel_reason_ms = 0;

    if ((now - dbg_state_ms) >= 2000U)
    {
      ModbusCommandType_t pen = pending_cmd;
      uint8_t run = plc_running;
      uint8_t act = modbus_command_active;
      uint8_t skp = telemetry_skip_once;
      uint32_t gu = modbus_command_guard_until_ms;
      uint32_t guard_left = 0U;

      if ((int32_t)(now - gu) < 0)
      {
        guard_left = (uint32_t)(gu - now);
      }

      dbg_state_ms = now;
      snprintf(msg, sizeof(msg),
               "DBG:STATE run=%u active=%u skip=%u pend=%u guard_left=%lu now=%lu\r\n",
               (unsigned int)run,
               (unsigned int)act,
               (unsigned int)skp,
               (unsigned int)pen,
               (unsigned long)guard_left,
               (unsigned long)now);
      app_debug_uart(msg);
    }

    if (telemetry_skip_once)
    {
      if ((now - dbg_tel_reason_ms) >= 2000U)
      {
        dbg_tel_reason_ms = now;
        app_debug_uart("DBG:TEL:SKIP_ONCE\r\n");
      }
      telemetry_skip_once = 0U;
    }
    else if ((pending_cmd == MB_CMD_NONE) &&
             plc_running &&
             (modbus_command_active == 0U) &&
             ((now - last_meter_ms) >= 2000U) &&
             ((int32_t)(now - modbus_command_guard_until_ms) >= 0))
    {
      app_debug_uart("DBG:TEL:CALL\r\n");
      last_meter_ms = now;
      telemetry_send_live_to_esp();
      app_debug_uart("DBG:TEL:DONE\r\n");
    }
    else
    {
      if ((now - dbg_tel_reason_ms) >= 2000U)
      {
        dbg_tel_reason_ms = now;
        if (plc_running == 0U)
        {
          app_debug_uart("DBG:TEL:NOT_RUNNING\r\n");
        }
        else if (pending_cmd != MB_CMD_NONE)
        {
          app_debug_uart("DBG:TEL:PENDING\r\n");
        }
        else if (modbus_command_active != 0U)
        {
          app_debug_uart("DBG:TEL:ACTIVE\r\n");
        }
        else if ((int32_t)(now - modbus_command_guard_until_ms) < 0)
        {
          app_debug_uart("DBG:TEL:GUARD\r\n");
        }
        else if ((now - last_meter_ms) < 2000U)
        {
          app_debug_uart("DBG:TEL:INTERVAL\r\n");
        }
      }
    }

    /* Small chunk delay so UART polling stays responsive. */
    osDelay(10);
  }
  /* USER CODE END StartDefaultTask  */
}

void MPU_Config(void)
{
  MPU_Region_InitTypeDef MPU_InitStruct = {0};

  HAL_MPU_Disable();

  MPU_InitStruct.Enable = MPU_REGION_ENABLE;
  MPU_InitStruct.Number = MPU_REGION_NUMBER0;
  MPU_InitStruct.BaseAddress = 0x0;
  MPU_InitStruct.Size = MPU_REGION_SIZE_4GB;
  MPU_InitStruct.SubRegionDisable = 0x87;
  MPU_InitStruct.TypeExtField = MPU_TEX_LEVEL0;
  MPU_InitStruct.AccessPermission = MPU_REGION_NO_ACCESS;
  MPU_InitStruct.DisableExec = MPU_INSTRUCTION_ACCESS_DISABLE;
  MPU_InitStruct.IsShareable = MPU_ACCESS_SHAREABLE;
  MPU_InitStruct.IsCacheable = MPU_ACCESS_NOT_CACHEABLE;
  MPU_InitStruct.IsBufferable = MPU_ACCESS_NOT_BUFFERABLE;

  HAL_MPU_ConfigRegion(&MPU_InitStruct);

  HAL_MPU_Enable(MPU_PRIVILEGED_DEFAULT);
}

void Error_Handler(void)
{
  __disable_irq();
  while (1)
  {
  }
}
